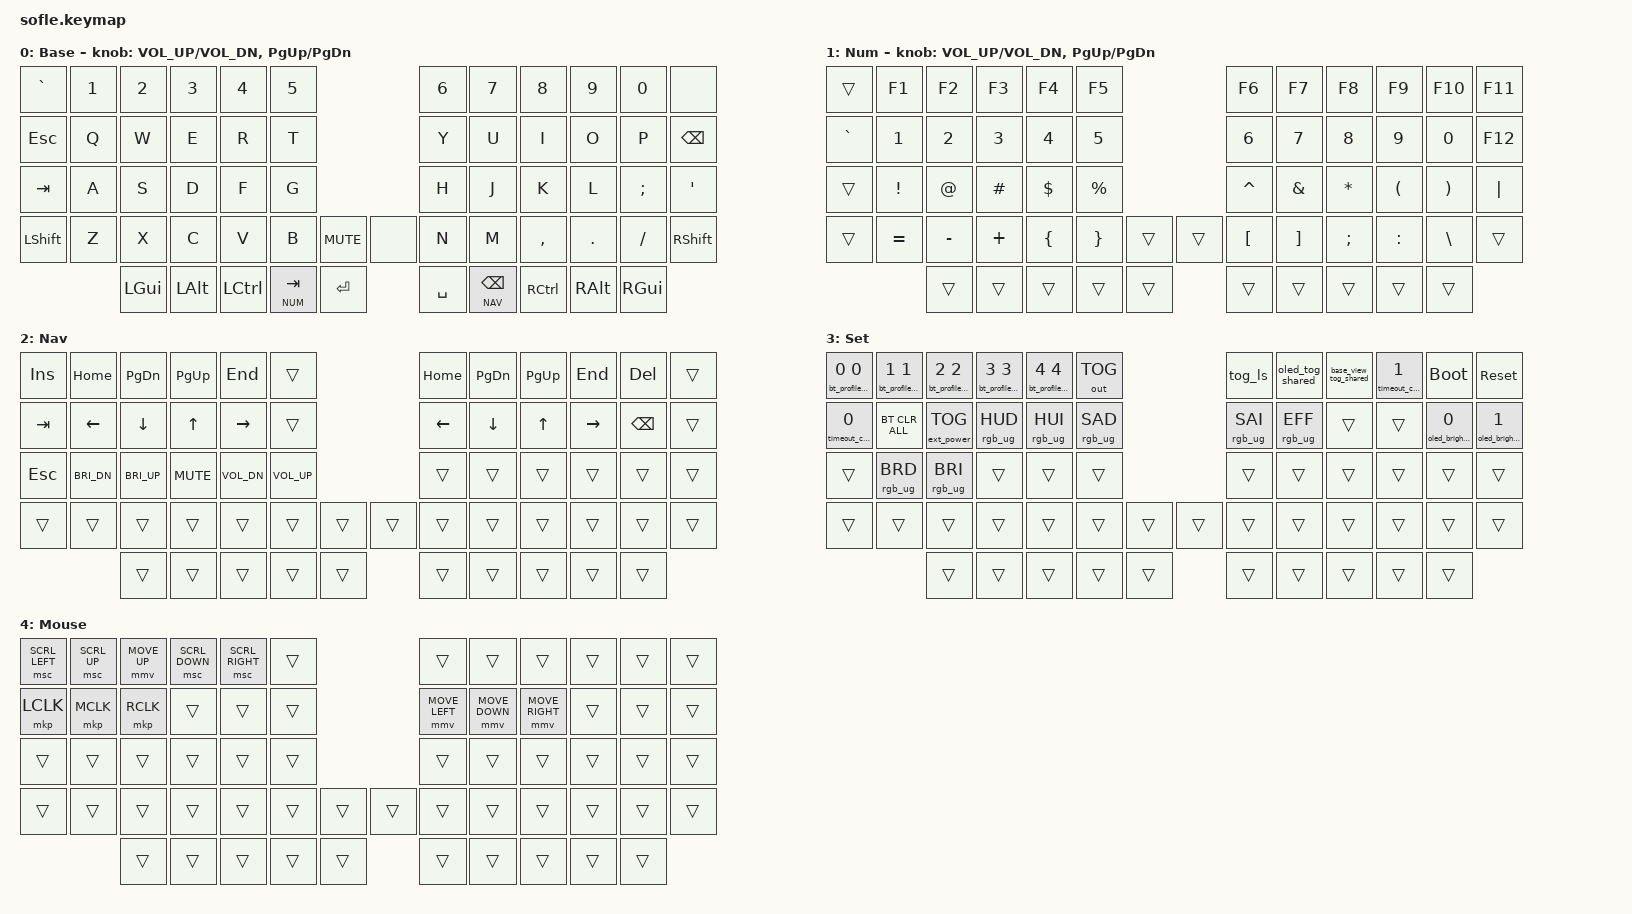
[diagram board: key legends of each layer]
/*
 * Copyright (c) 2020 The ZMK Contributors
 *
 * SPDX-License-Identifier: MIT
 */

#include <behaviors.dtsi>
#include <dt-bindings/zmk/keys.h>
#include <dt-bindings/zmk/bt.h>
#include <dt-bindings/zmk/outputs.h>
#include <dt-bindings/zmk/pointing.h>
#include "../common/studio_features.dtsi"
#include "../common/studio_runtime_layers.dtsi"
#include "../common/studio_unlock_combo.dtsi"

#include <dt-bindings/zmk/rgb.h>
#include <dt-bindings/zmk/ext_power.h>

#define BASE  0
#define NUM   1
#define NAV   2
#define SET   3
#define MOUSE 4

/ {

   // Activate ADJUST layer by pressing raise and lower
    keymap {
        compatible = "zmk,keymap";

        base_layer {
            display-name = "Base";
            
// ------------------------------------------------------------------------------------------------------------
// |   `   |  1  |  2  |  3   |  4   |  5   |                   |  6   |  7    |  8    |  9   |   0   |       |
// |  ESC  |  Q  |  W  |  E   |  R   |  T   |                   |  Y   |  U    |  I    |  O   |   P   | BKSPC |
// |  TAB  |  A  |  S  |  D   |  F   |  G   |                   |  H   |  J    |  K    |  L   |   ;   |   '   |
// | SHIFT |  Z  |  X  |  C   |  V   |  B   |  MUTE  |  |       |  N   |  M    |  ,    |  .   |   /   | SHIFT |
//               | GUI | ALT  | CTRL | LOWER|  ENTER |  | SPACE | RAISE| CTRL  | ALT   | GUI  |
            bindings = <
&kp GRAVE &kp N1 &kp N2   &kp N3   &kp N4    &kp N5                           &kp N6 &kp N7    &kp N8    &kp N9   &kp N0   &none
&kp ESC   &kp Q  &kp W    &kp E    &kp R     &kp T                            &kp Y  &kp U     &kp I     &kp O    &kp P    &kp BSPC
&kp TAB   &kp A  &kp S    &kp D    &kp F     &kp G                            &kp H  &kp J     &kp K     &kp L    &kp SEMI &kp SQT
&kp LSHFT &kp Z  &kp X    &kp C    &kp V     &kp B      &kp C_MUTE &none      &kp N  &kp M     &kp COMMA &kp DOT  &kp FSLH &kp RSHFT
                 &kp LGUI &kp LALT &kp LCTRL &lt NUM TAB  &kp RET    &kp SPACE  &lt NAV BSPC  &kp RCTRL &kp RALT  &kp RGUI
            >;

            sensor-bindings = <&inc_dec_kp C_VOL_UP C_VOL_DN &inc_dec_kp PG_UP PG_DN>;
        };

        num_layer {
            display-name = "Num";
            
// TODO: Some binds are waiting for shifted keycode support.
// ------------------------------------------------------------------------------------------------------------
// |       |  F1 |  F2 |  F3  |  F4  |  F5  |                   |  F6  |  F7   |  F8   |  F9  |  F10  |  F11  |
// |   `   |  1  |  2  |  3   |  4   |  5   |                   |  6   |  7    |  8    |  9   |   0   |  F12  |
// |       |  !  |  @  |  #   |  $   |  %   |                   |  ^   |  &    |  *    |  (   |   )   |   |   |
// |       |  =  |  -  |  +   |  {   |  }   |        |  |       |  [   |  ]    |  ;    |  :   |   \   |       |
//               |     |      |      |      |        |  |       |      |       |       |      |
            bindings = <
&trans    &kp F1    &kp F2    &kp F3      &kp F4    &kp F5                    &kp F6    &kp F7   &kp F8    &kp F9    &kp F10   &kp F11
&kp GRAVE &kp N1    &kp N2    &kp N3      &kp N4    &kp N5                    &kp N6    &kp N7   &kp N8    &kp N9    &kp N0    &kp F12
&trans    &kp EXCL  &kp AT    &kp HASH    &kp DLLR  &kp PRCNT                 &kp CARET &kp AMPS &kp ASTRK &kp LPAR  &kp RPAR  &kp PIPE
&trans    &kp EQUAL &kp MINUS &kp PLUS &kp LBRC  &kp RBRC   &trans &trans  &kp LBKT  &kp RBKT &kp SEMI  &kp COLON &kp BSLH  &trans
                    &trans    &trans      &trans    &trans     &trans &trans  &trans    &trans   &trans    &trans
            >;

            sensor-bindings = <&inc_dec_kp C_VOL_UP C_VOL_DN &inc_dec_kp PG_UP PG_DN>;
        };

        nav_layer {
            display-name = "Nav";
            bindings = <
                &kp INS &kp HOME &kp PG_DN &kp PG_UP &kp END &trans &kp HOME &kp PG_DN &kp PG_UP &kp END &kp DEL &trans
                &kp TAB &kp LEFT &kp DOWN &kp UP &kp RIGHT &trans &kp LEFT &kp DOWN &kp UP &kp RIGHT &kp BSPC &trans
                &kp ESC &kp C_BRI_DN &kp C_BRI_UP &kp C_MUTE &kp C_VOL_DN &kp C_VOL_UP &trans &trans &trans &trans &trans &trans
                &trans &trans &trans &trans &trans &trans &trans &trans &trans &trans &trans &trans &trans &trans
                &trans &trans &trans &trans &trans &trans &trans &trans &trans &trans
            >;
        };
        set_layer {
            display-name = "Set";
            bindings = <
                &bt_profile_shared 0 0 &bt_profile_shared 1 1 &bt_profile_shared 2 2 &bt_profile_shared 3 3 &bt_profile_shared 4 4 &out OUT_TOG &tog_ls &oled_tog_shared &base_view_tog_shared &timeout_cycle_shared 1 &bootloader &sys_reset
                &timeout_cycle_shared 0 &bt BT_CLR_ALL &ext_power EP_TOG &rgb_ug RGB_HUD &rgb_ug RGB_HUI &rgb_ug RGB_SAD &rgb_ug RGB_SAI &rgb_ug RGB_EFF &trans &trans &oled_brightness_shared 0  &oled_brightness_shared 1
                &trans &rgb_ug RGB_BRD &rgb_ug RGB_BRI &trans &trans &trans &trans &trans &trans &trans &trans &trans
                &trans &trans &trans &trans &trans &trans &trans &trans &trans &trans &trans &trans &trans &trans
                &trans &trans &trans &trans &trans &trans &trans &trans &trans &trans
            >;
        };
        mouse_layer {
            display-name = "Mouse";
            bindings = <
                &msc SCRL_LEFT &msc SCRL_UP &mmv MOVE_UP &msc SCRL_DOWN &msc SCRL_RIGHT &trans &trans &trans &trans &trans &trans &trans
                &mkp LCLK &mkp MCLK &mkp RCLK &trans &trans &trans &mmv MOVE_LEFT &mmv MOVE_DOWN &mmv MOVE_RIGHT &trans &trans &trans
                &trans &trans &trans &trans &trans &trans &trans &trans &trans &trans &trans &trans
                &trans &trans &trans &trans &trans &trans &trans &trans &trans &trans &trans &trans &trans &trans
                &trans &trans &trans &trans &trans &trans &trans &trans &trans &trans
            >;
        };
        ZMK_STUDIO_RUNTIME_LAYER_SLOTS_4
    };
};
